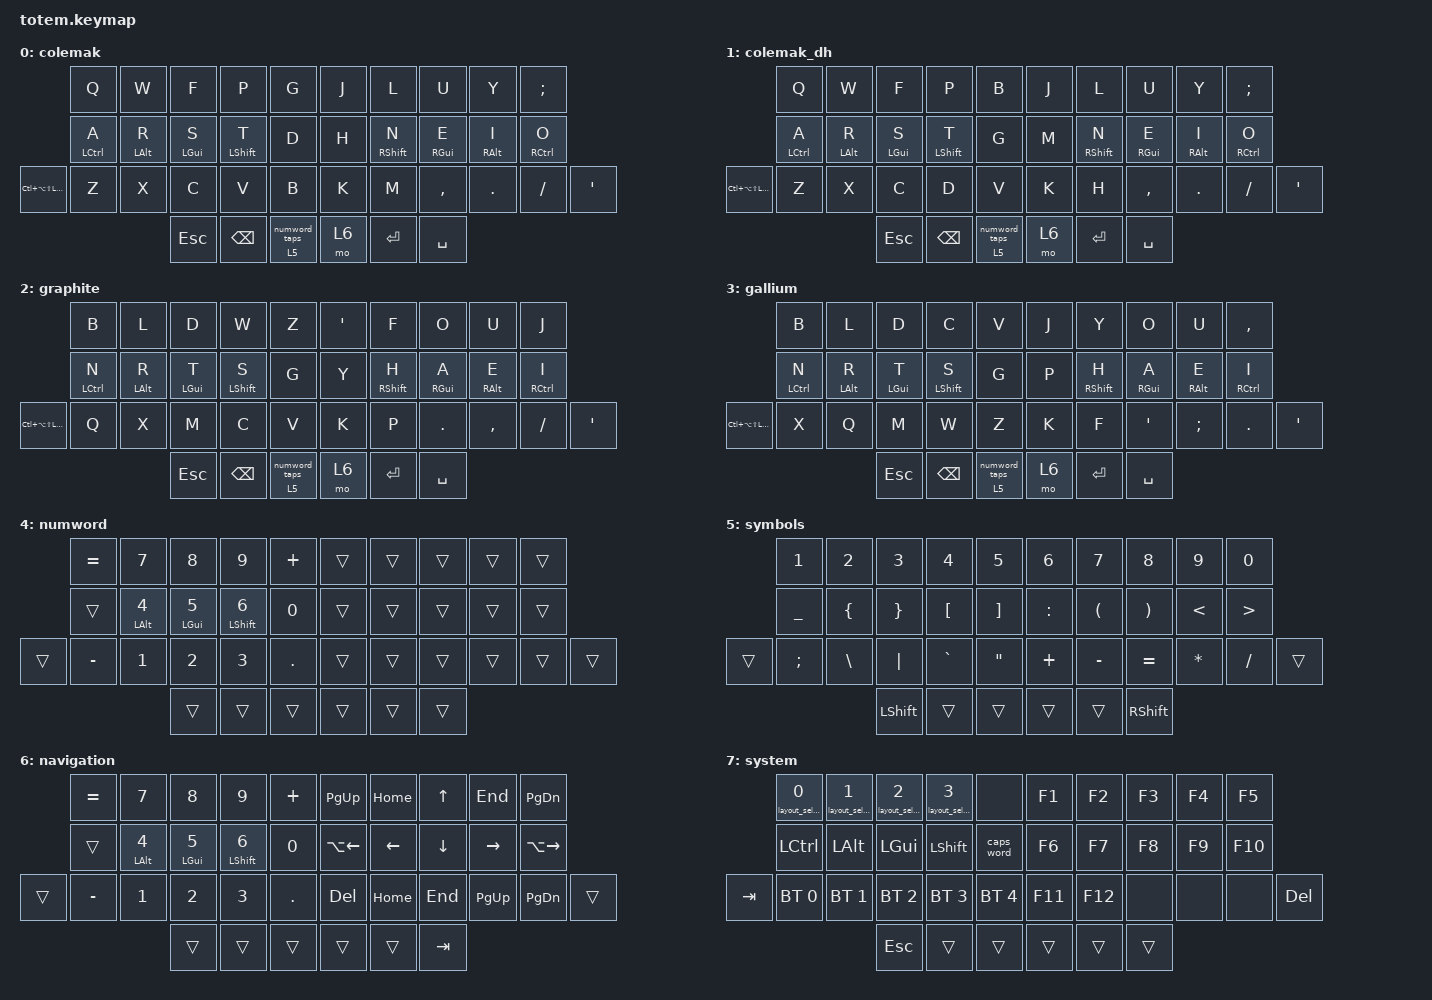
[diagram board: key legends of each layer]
#include <behaviors.dtsi>
#include <behaviors/num_word.dtsi>
#include <dt-bindings/zmk/keys.h>
#include <dt-bindings/zmk/bt.h>

&num_word { ignore-modifiers; };
/ {
    behaviors {
        layout_select: layout_select { compatible = "custom,behavior-layout-select"; #binding-cells = <1>; };
        numword_taps: numword_taps {
            compatible = "zmk,behavior-tap-dance";
            #binding-cells = <0>;
            tapping-term-ms = <200>;
            bindings = <&none>, <&num_word 4>;
        };
        smart_sym: smart_sym {
            compatible = "zmk,behavior-hold-tap";
            #binding-cells = <2>;
            flavor = "hold-preferred";
            tapping-term-ms = <200>;
            quick-tap-ms = <0>;
            hold-while-undecided;
            bindings = <&mo>, <&numword_taps>;
        };
        fence: fence { compatible = "custom,behavior-fence"; #binding-cells = <0>; };
        combo_fence: combo_fence { compatible = "custom,behavior-combo-fence"; #binding-cells = <0>; };
        direct_fence: direct_fence { compatible = "custom,behavior-direct-fence"; #binding-cells = <0>; };
        fence_finish: fence_finish { compatible = "custom,behavior-fence-finish"; #binding-cells = <0>; };
        // Opposite-hand chords resolve as holds; same-hand rolls stay taps.
        hm_l: home_mod_left {
            compatible = "zmk,behavior-hold-tap";
            #binding-cells = <2>;
            flavor = "balanced";
            tapping-term-ms = <230>;
            quick-tap-ms = <175>;
            hold-trigger-key-positions = <5 6 7 8 9 15 16 17 18 19 26 27 28 29 30 31 35 36 37>;
            hold-trigger-on-release;
            bindings = <&kp>, <&kp>;
        };
        hm_r: home_mod_right {
            compatible = "zmk,behavior-hold-tap";
            #binding-cells = <2>;
            flavor = "balanced";
            tapping-term-ms = <230>;
            quick-tap-ms = <175>;
            hold-trigger-key-positions = <0 1 2 3 4 10 11 12 13 14 20 21 22 23 24 25 32 33 34>;
            hold-trigger-on-release;
            bindings = <&kp>, <&kp>;
        };
    };
    // Base Colemak positions: Z=21, X=22, C=23, V=24.
    // Brief idle reduces accidental shortcuts while typing e.g. "exception".
    combos {
        compatible = "zmk,combos";
        // The overlapping W+F+P and F+P combos use the physical Colemak positions.
        // No idle guard: backtick and Backspace must work immediately after typing.
        combo_fenced_block { key-positions = <1 2 3>; bindings = <&direct_fence>; timeout-ms = <50>; layers = <0>; };
        combo_grave  { key-positions = <2 3>; bindings = <&kp GRAVE>; timeout-ms = <50>; layers = <0>; };
        combo_bspc   { key-positions = <6 7>; bindings = <&kp BSPC>; timeout-ms = <50>; layers = <0>; };
        combo_undo {
            key-positions = <21 22>;
            bindings = <&kp LG(Z)>;
            timeout-ms = <40>;
            require-prior-idle-ms = <100>;
            layers = <0>;
        };
        combo_copy {
            key-positions = <22 23>;
            bindings = <&kp LG(C)>;
            timeout-ms = <40>;
            require-prior-idle-ms = <100>;
            layers = <0>;
        };
        combo_paste {
            key-positions = <23 24>;
            bindings = <&kp LG(V)>;
            timeout-ms = <40>;
            require-prior-idle-ms = <100>;
            layers = <0>;
        };
    };
    conditional_layers {
        compatible = "zmk,conditional-layers";
        adjust_layer {
            if-layers = <5 6>;
            then-layer = <7>;
        };
    };
    keymap {
        compatible = "zmk,keymap";
        colemak {
            bindings = <
                &kp Q  &kp W  &kp F  &kp P  &kp G  &kp J  &kp L  &kp U  &kp Y  &kp SEMI
                &hm_l LCTRL A  &hm_l LALT R  &hm_l LGUI S  &hm_l LSHIFT T  &kp D  &kp H  &hm_r RSHIFT N  &hm_r RGUI E  &hm_r RALT I  &hm_r RCTRL O
                &kp LC(LA(LS(LGUI)))  &kp Z  &kp X  &kp C  &kp V  &kp B  &kp K  &kp M  &kp COMMA  &kp DOT  &kp FSLH  &kp SQT
                &kp ESC  &kp BSPC  &smart_sym 5 0  &mo 6  &kp ENTER  &kp SPACE
            >;
        };
        colemak_dh {
            bindings = <
                &kp Q  &kp W  &kp F  &kp P  &kp B  &kp J  &kp L  &kp U  &kp Y  &kp SEMI
                &hm_l LCTRL A  &hm_l LALT R  &hm_l LGUI S  &hm_l LSHIFT T  &kp G  &kp M  &hm_r RSHIFT N  &hm_r RGUI E  &hm_r RALT I  &hm_r RCTRL O
                &kp LC(LA(LS(LGUI)))  &kp Z  &kp X  &kp C  &kp D  &kp V  &kp K  &kp H  &kp COMMA  &kp DOT  &kp FSLH  &kp SQT
                &kp ESC  &kp BSPC  &smart_sym 5 0  &mo 6  &kp ENTER  &kp SPACE
            >;
        };
        graphite {
            bindings = <
                &kp B  &kp L  &kp D  &kp W  &kp Z  &kp SQT  &kp F  &kp O  &kp U  &kp J
                &hm_l LCTRL N  &hm_l LALT R  &hm_l LGUI T  &hm_l LSHIFT S  &kp G  &kp Y  &hm_r RSHIFT H  &hm_r RGUI A  &hm_r RALT E  &hm_r RCTRL I
                &kp LC(LA(LS(LGUI)))  &kp Q  &kp X  &kp M  &kp C  &kp V  &kp K  &kp P  &kp DOT  &kp COMMA  &kp FSLH  &kp SQT
                &kp ESC  &kp BSPC  &smart_sym 5 0  &mo 6  &kp ENTER  &kp SPACE
            >;
        };
        gallium {
            bindings = <
                &kp B  &kp L  &kp D  &kp C  &kp V  &kp J  &kp Y  &kp O  &kp U  &kp COMMA
                &hm_l LCTRL N  &hm_l LALT R  &hm_l LGUI T  &hm_l LSHIFT S  &kp G  &kp P  &hm_r RSHIFT H  &hm_r RGUI A  &hm_r RALT E  &hm_r RCTRL I
                &kp LC(LA(LS(LGUI)))  &kp X  &kp Q  &kp M  &kp W  &kp Z  &kp K  &kp F  &kp SQT  &kp SEMI  &kp DOT  &kp SQT
                &kp ESC  &kp BSPC  &smart_sym 5 0  &mo 6  &kp ENTER  &kp SPACE
            >;
        };
        numword {
            bindings = <
                &kp EQUAL  &kp N7  &kp N8  &kp N9  &kp PLUS  &trans  &trans  &trans  &trans  &trans
                &trans  &hm_l LALT N4  &hm_l LGUI N5  &hm_l LSHIFT N6  &kp N0  &trans  &trans  &trans  &trans  &trans
                &trans  &kp MINUS  &kp N1  &kp N2  &kp N3  &kp DOT  &trans  &trans  &trans  &trans  &trans  &trans
                &trans  &trans  &trans  &trans  &trans  &trans
            >;
        };
        symbols {
            bindings = <
                &kp N1  &kp N2  &kp N3  &kp N4  &kp N5  &kp N6  &kp N7  &kp N8  &kp N9  &kp N0
                &kp UNDER  &kp LBRC  &kp RBRC  &kp LBKT  &kp RBKT  &kp COLON  &kp LPAR  &kp RPAR  &kp LT  &kp GT
                &trans  &kp SEMI  &kp BSLH  &kp PIPE  &kp GRAVE  &kp DQT  &kp PLUS  &kp MINUS  &kp EQUAL  &kp ASTRK  &kp FSLH  &trans
                &kp LSHIFT  &trans  &trans  &trans  &trans  &kp RSHIFT
            >;
        };
        navigation {
            bindings = <
                &kp EQUAL  &kp N7  &kp N8  &kp N9  &kp PLUS  &kp PG_UP  &kp HOME  &kp UP  &kp END  &kp PG_DN
                &trans  &hm_l LALT N4  &hm_l LGUI N5  &hm_l LSHIFT N6  &kp N0  &kp LA(LEFT)  &kp LEFT  &kp DOWN  &kp RIGHT  &kp LA(RIGHT)
                &trans  &kp MINUS  &kp N1  &kp N2  &kp N3  &kp DOT  &kp DEL  &kp HOME  &kp END  &kp PG_UP  &kp PG_DN  &trans
                &trans  &trans  &trans  &trans  &trans  &kp TAB
            >;
        };
        system {
            bindings = <
                &layout_select 0  &layout_select 1  &layout_select 2  &layout_select 3  &none  &kp F1  &kp F2  &kp F3  &kp F4  &kp F5
                &kp LCTRL  &kp LALT  &kp LGUI  &kp LSHIFT  &caps_word  &kp F6  &kp F7  &kp F8  &kp F9  &kp F10
                &kp TAB  &bt BT_SEL 0  &bt BT_SEL 1  &bt BT_SEL 2  &bt BT_SEL 3  &bt BT_SEL 4  &kp F11  &kp F12  &none  &none  &none  &kp DEL
                &kp ESC  &trans  &trans  &trans  &trans  &trans
            >;
        };
    };
};
